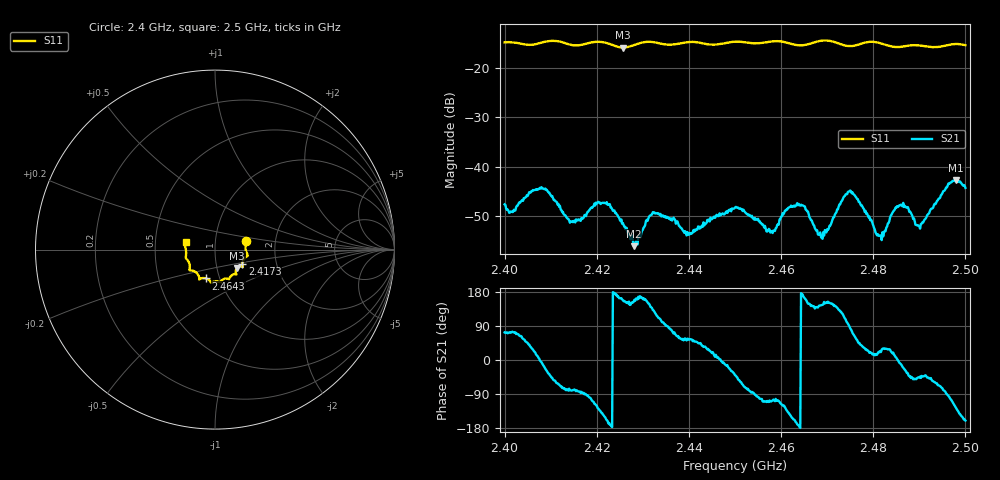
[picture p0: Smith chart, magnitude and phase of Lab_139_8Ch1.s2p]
# Hz S RI R 50
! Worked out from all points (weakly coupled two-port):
!   601 points, 2.4 GHz to 2.5 GHz, reference 50 ohm
!   highest |S21| = -42.65 dB at 2.498 GHz (marker M1); lowest = -56.1 dB at 2.428 GHz (marker M2)
!   lowest |S11| = -15.9 dB at 2.4257 GHz (marker M3), VSWR 1.38, Z = 62.4 - j13.1 ohm
!   |S11| at or under -10 dB: start of sweep to end of sweep
!   S12 and S22 are empty: the file has one direction only
!   S11 on the Smith chart (normalised r, x): 2.4 GHz: 1.41, +0.14; 2.4173 GHz: 1.34, -0.23; 2.4643 GHz: 0.86, -0.28; 2.5 GHz: 0.72, +0.06
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2.4e9  0.1732 0.0496  0.00124 0.00398  0 0  0 0
2.408333e9  0.1795 -0.0237  0.00589 -0.00136  0 0  0 0
2.414e9  0.1655 -0.0467  0.000716 -0.00279  0 0  0 0
2.416667e9  0.1529 -0.0746  0.000323 -0.00301  0 0  0 0
2.417333e9  0.1524 -0.0821  -3.48e-05 -0.00325  0 0  0 0
2.421667e9  0.1529 -0.095  -0.00372 -0.00221  0 0  0 0
2.425667e9  0.1226 -0.1023  -0.0025 0.00101  0 0  0 0
2.428e9  0.1151 -0.1236  -0.00141 0.000704  0 0  0 0
2.433333e9  0.1128 -0.1368  -0.00123 0.0031  0 0  0 0
2.44e9  0.0799 -0.1632  0.00122 0.00164  0 0  0 0
2.45e9  0.0296 -0.181  0.00295 -0.00248  0 0  0 0
2.458167e9  -0.0192 -0.1837  -0.000616 -0.00205  0 0  0 0
2.464333e9  -0.0503 -0.1606  -0.00413 0.000253  0 0  0 0
2.466667e9  -0.0763 -0.1598  -0.00231 0.00169  0 0  0 0
2.469167e9  -0.0877 -0.1667  -0.00183 0.0012  0 0  0 0
2.475e9  -0.1065 -0.1263  0.000633 0.00572  0 0  0 0
2.481333e9  -0.1421 -0.1071  0.00187 0.000692  0 0  0 0
2.483333e9  -0.1408 -0.0894  0.00238 0.00128  0 0  0 0
2.486e9  -0.1499 -0.063  0.00406 -0.000774  0 0  0 0
2.490333e9  -0.1626 -0.0394  0.00178 -0.00194  0 0  0 0
2.498e9  -0.1709 0.0316  -0.00449 -0.00584  0 0  0 0
2.5e9  -0.1635 0.042  -0.00574 -0.00211  0 0  0 0
